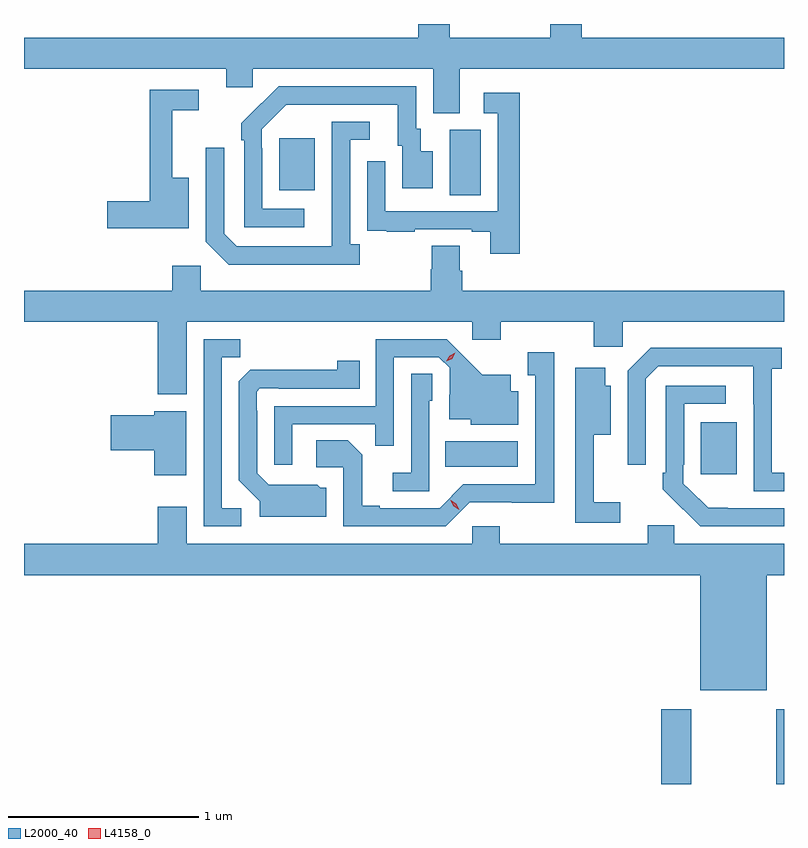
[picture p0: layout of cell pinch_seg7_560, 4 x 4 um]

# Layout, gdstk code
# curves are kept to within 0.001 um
import gdstk
lib = gdstk.Library(unit=1e-6, precision=1e-09)
def R(c, l, rs):  # rectangles x0, y0, x1, y1
    for r in rs: c.add(gdstk.rectangle(r[:2], r[2:], *l))
def P(c, l, *ps):  # polygons
    for p in ps: c.add(gdstk.Polygon(p, *l))
L2000_40 = (2000, 40)
L4158_0 = (4158, 0)

pinch_seg7_560 = lib.new_cell('pinch_seg7_560')
R(pinch_seg7_560, L2000_40, [(115.859,1052.796,116.019,1053.19), (116.464,1052.796,116.506,1053.19), (116.069,1054.425,116.257,1054.699), (114.724,1054.466,115.105,1054.6), (114.746,1055.896,114.91,1056.24), (113.849,1055.921,114.037,1056.196)])
P(pinch_seg7_560, L2000_40, [(114.799,1056.56),(116.506,1056.56),(116.506,1056.724),(115.442,1056.724),(115.442,1056.796),(115.277,1056.796),(115.277,1056.724),(114.746,1056.724),(114.746,1056.796),(114.581,1056.796),(114.581,1056.724),(112.506,1056.724),(112.506,1056.56),(113.57,1056.56),(113.57,1056.462),(113.709,1056.462),(113.709,1056.56),(114.659,1056.56),(114.659,1056.325),(114.799,1056.325)],
  [(113.98,1055.823),(113.76,1055.823),(113.76,1056.143),(113.757,1056.143),(113.757,1056.243),(113.886,1056.372),(114.473,1056.372),(114.473,1056.156),(114.497,1056.156),(114.497,1055.931),(114.658,1055.931),(114.658,1056.127),(114.595,1056.127),(114.595,1056.246),(114.57,1056.246),(114.57,1056.468),(113.846,1056.468),(113.649,1056.273),(113.649,1056.185),(113.664,1056.185),(113.664,1055.727),(113.98,1055.727)],
  [(113.374,1055.986),(113.285,1055.986),(113.285,1056.342),(113.425,1056.342),(113.425,1056.45),(113.167,1056.45),(113.167,1055.864),(112.944,1055.864),(112.944,1055.722),(113.374,1055.722)],
  [(115.115,1056.433),(114.927,1056.433),(114.927,1056.327),(114.999,1056.327),(114.999,1055.811),(114.408,1055.811),(114.408,1056.073),(114.312,1056.073),(114.312,1055.818),(114.313,1055.818),(114.313,1055.709),(114.415,1055.709),(114.415,1055.703),(114.563,1055.703),(114.563,1055.715),(114.863,1055.715),(114.863,1055.703),(114.959,1055.703),(114.959,1055.586),(115.115,1055.586)],
  [(114.274,1055.638),(114.222,1055.638),(114.222,1056.186),(114.325,1056.186),(114.325,1056.282),(114.126,1056.282),(114.125,1055.625),(113.625,1055.625),(113.559,1055.691),(113.559,1056.145),(113.463,1056.145),(113.463,1055.649),(113.584,1055.528),(114.274,1055.528)],
  [(113.362,1055.228),(114.864,1055.228),(114.864,1055.133),(115.016,1055.133),(115.016,1055.228),(115.505,1055.228),(115.505,1055.097),(115.656,1055.097),(115.656,1055.228),(116.506,1055.228),(116.506,1055.392),(114.812,1055.392),(114.812,1055.498),(114.799,1055.498),(114.799,1055.63),(114.652,1055.63),(114.652,1055.505),(114.647,1055.505),(114.647,1055.392),(113.436,1055.392),(113.436,1055.524),(113.285,1055.524),(113.285,1055.392),(112.506,1055.392),(112.506,1055.228),(113.21,1055.228),(113.21,1054.848),(113.362,1054.848)],
  [(113.919,1054.689),(114.355,1054.689),(114.355,1054.576),(114.453,1054.576),(114.453,1055.043),(114.69,1055.043),(114.747,1054.986),(114.747,1054.844),(114.743,1054.844),(114.743,1054.715),(114.858,1054.715),(114.858,1054.688),(115.108,1054.688),(115.108,1054.864),(115.069,1054.864),(115.069,1054.951),(114.917,1054.951),(114.73,1055.136),(114.357,1055.136),(114.357,1054.785),(113.823,1054.785),(113.823,1054.476),(113.919,1054.476)],
  [(113.65,1054.248),(113.547,1054.248),(113.547,1055.041),(113.643,1055.041),(113.643,1055.136),(113.451,1055.136),(113.451,1054.152),(113.65,1054.152)],
  [(116.506,1054.434),(116.442,1054.434),(116.442,1054.982),(116.494,1054.982),(116.494,1055.092),(115.804,1055.092),(115.683,1054.971),(115.683,1054.476),(115.779,1054.476),(115.779,1054.929),(115.845,1054.995),(116.345,1054.995),(116.346,1054.338),(116.506,1054.338)],
  [(114.852,1054.278),(115.297,1054.277),(115.297,1055.068),(115.157,1055.068),(115.157,1054.947),(115.196,1054.947),(115.196,1054.374),(114.819,1054.374),(114.693,1054.248),(114.379,1054.248),(114.379,1054.261),(114.285,1054.261),(114.285,1054.528),(114.209,1054.604),(114.045,1054.604),(114.045,1054.464),(114.186,1054.464),(114.186,1054.152),(114.726,1054.152)],
  [(114.097,1054.356),(114.066,1054.356),(114.05,1054.372),(113.793,1054.371),(113.733,1054.431),(113.733,1054.76),(113.73,1054.76),(113.73,1054.86),(113.748,1054.878),(113.848,1054.878),(113.848,1054.875),(114.272,1054.875),(114.272,1055.023),(114.154,1055.023),(114.154,1054.976),(113.696,1054.975),(113.637,1054.916),(113.637,1054.394),(113.747,1054.284),(113.747,1054.202),(114.097,1054.202)],
  [(115.645,1054.279),(115.505,1054.279),(115.505,1054.634),(115.594,1054.634),(115.594,1054.891),(115.564,1054.891),(115.564,1054.987),(115.406,1054.987),(115.406,1054.738),(115.407,1054.738),(115.407,1054.17),(115.645,1054.17)],
  [(114.639,1054.812),(114.654,1054.812),(114.654,1054.955),(114.543,1054.955),(114.543,1054.435),(114.447,1054.435),(114.447,1054.338),(114.639,1054.338)],
  [(116.506,1054.248),(116.106,1054.249),(115.977,1054.377),(115.977,1054.477),(115.98,1054.477),(115.98,1054.797),(116.2,1054.797),(116.2,1054.893),(115.884,1054.893),(115.884,1054.435),(115.869,1054.435),(115.869,1054.347),(116.066,1054.152),(116.506,1054.152)],
  [(113.359,1054.759),(113.192,1054.759),(113.192,1054.736),(112.962,1054.736),(112.962,1054.553),(113.192,1054.553),(113.192,1054.422),(113.359,1054.422)],
  [(116.416,1053.896),(116.506,1053.896),(116.506,1054.06),(115.929,1054.06),(115.929,1054.158),(115.79,1054.158),(115.79,1054.06),(115.011,1054.06),(115.011,1054.153),(114.864,1054.153),(114.864,1054.06),(113.362,1054.06),(113.362,1054.255),(113.21,1054.255),(113.21,1054.06),(112.506,1054.06),(112.506,1053.896),(116.066,1053.896),(116.066,1053.29),(116.416,1053.29)])
P(pinch_seg7_560, L4158_0, [(114.798,1054.239),(114.767,1054.258),(114.75,1054.291),(114.75,1054.291),(114.75,1054.291),(114.782,1054.272),(114.798,1054.239),(114.798,1054.239)],
  [(114.729,1055.02),(114.729,1055.021),(114.746,1055.05),(114.777,1055.065),(114.777,1055.065),(114.777,1055.065),(114.76,1055.035),(114.729,1055.02)])

lib.write_gds('pinch_seg7_560.gds')
